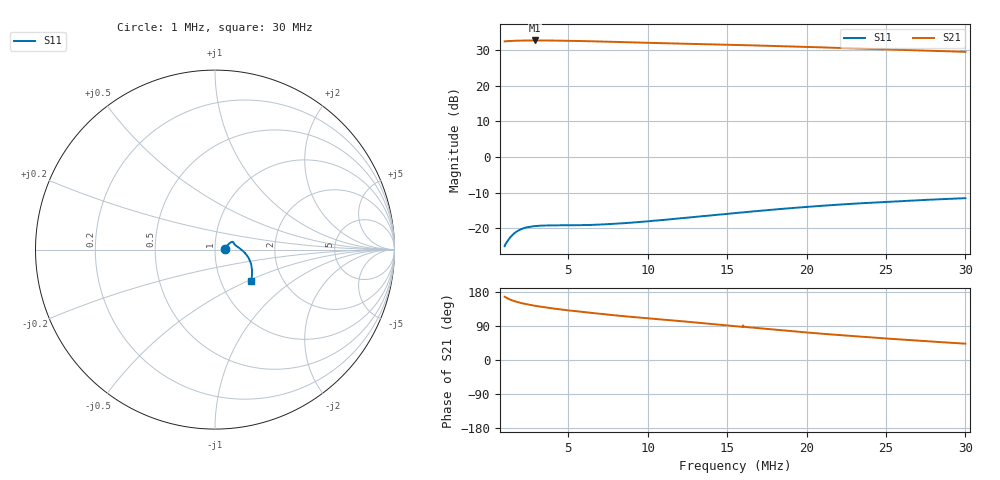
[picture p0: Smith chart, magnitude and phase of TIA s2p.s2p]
# HZ S RI R 50
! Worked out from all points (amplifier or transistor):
!   1010 points, 1 MHz to 30 MHz, reference 50 ohm
!   highest |S21| = 32.7 dB at 2.926 MHz (marker M1)
!   |S21| within 3 dB of that: start of sweep to 28.55 MHz
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1000000  0.0563 0.00242  -40.95 9.532  0 0  0 0
1114964  0.0619 0.0118  -40.72 11.45  0 0  0 0
1431115  0.0733 0.0277  -39.64 15.95  0 0  0 0
1804748  0.0839 0.0373  -38.29 19.61  0 0  0 0
2293345  0.0927 0.0425  -36.64 22.95  0 0  0 0
2925647  0.0988 0.0433  -34.58 26.09  0 0  0 0
3557949  0.1015 0.0418  -32.59 28.46  0 0  0 0
4247733  0.1034 0.0393  -30.43 30.54  0 0  0 0
5857229  0.1061 0.0329  -25.51 33.98  0 0  0 0
7955322  0.1137 0.0248  -19.31 36.56  0 0  0 0
1.068572e7  0.1289 0.0133  -12.03 37.93  0 0  0 0
1.321492e7  0.1465 0.000135  -5.578 38.16  0 0  0 0
1.55142e7  0.1634 -0.0153  0.3275 37.46  0 0  0 0
1.583036e7  0.1657 -0.0177  1.182 37.29  0 0  0 0
1.614651e7  0.1678 -0.0202  1.71 37.12  0 0  0 0
1.637644e7  0.1695 -0.0221  2.383 36.96  0 0  0 0
1.781348e7  0.1793 -0.0345  5.836 35.86  0 0  0 0
2.034269e7  0.1937 -0.0602  11.09 33.17  0 0  0 0
2.255575e7  0.2021 -0.085  14.69 30.39  0 0  0 0
2.517118e7  0.2065 -0.116  17.94 26.92  0 0  0 0
2.747046e7  0.206 -0.1437  20.12 23.83  0 0  0 0
2.999967e7  0.2006 -0.1739  21.92 20.49  0 0  0 0
